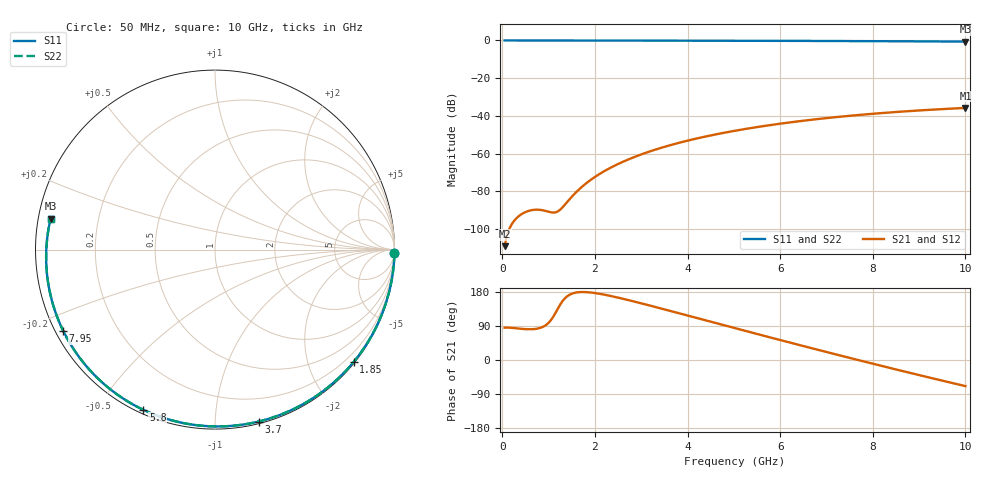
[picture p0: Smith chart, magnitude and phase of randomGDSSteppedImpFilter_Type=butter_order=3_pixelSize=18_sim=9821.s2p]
! freq	dB(S11)	phase(S11)	dB(S12)	phase(S12)
!  dB(S21)	phase(S21)	dB(S22)	phase(S22)
!S-par simulation data
#  GHz  S  DB  R 50
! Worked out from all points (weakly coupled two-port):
!   200 points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, 50 MHz to 10 GHz, reference 50 ohm
!   highest |S21| = -35.79 dB at 10 GHz (marker M1); lowest = -109.1 dB at 50 MHz (marker M2)
!   lowest |S11| = -0.6 dB at 10 GHz (marker M3), VSWR 28.44, Z = 1.77 + j4.65 ohm
!   |S11| at or under -10 dB: nowhere
!   |S22| runs from -0.6 to 0.0 dB; largest |S21 - S12| = 0
!   S11 on the Smith chart (normalised r, x): 50 MHz: open; 1.85 GHz: 0.03, -2.82; 3.7 GHz: 0.02, -1.29; 5.8 GHz: 0.02, -0.65; 7.95 GHz: 0.02, -0.25; 10 GHz: 0.04, +0.09
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0.05  -0.00 -1.1  -109.12 85.3  -109.12 85.3  -0.00 -1.1
0.4  -0.01 -8.6  -92.38 82.4  -92.38 82.4  -0.01 -8.6
0.8  -0.02 -17.1  -89.83 84.0  -89.83 84.0  -0.02 -17.1
1.2  -0.03 -25.6  -90.68 135.6  -90.68 135.6  -0.03 -25.6
1.6  -0.04 -33.9  -80.35 178.2  -80.35 178.2  -0.04 -33.9
1.75  -0.05 -37.0  -76.99 179.4  -76.99 179.4  -0.05 -37.0
1.85  -0.05 -39.1  -75.03 178.8  -75.03 178.8  -0.05 -39.1
2.15  -0.06 -45.2  -70.08 173.6  -70.08 173.6  -0.06 -45.2
2.5  -0.07 -52.3  -65.54 164.6  -65.54 164.6  -0.07 -52.3
2.9  -0.08 -60.3  -61.37 152.7  -61.37 152.7  -0.08 -60.2
3.4  -0.09 -70.0  -57.18 136.9  -57.18 136.9  -0.09 -70.0
3.7  -0.10 -75.7  -55.06 127.2  -55.06 127.2  -0.10 -75.7
4.35  -0.13 -87.9  -51.16 106.0  -51.16 106.0  -0.13 -87.9
5.05  -0.16 -100.7  -47.79 83.2  -47.79 83.2  -0.16 -100.7
5.8  -0.19 -114.1  -44.84 59.1  -44.84 59.1  -0.19 -114.0
6.7  -0.25 -129.9  -42.00 30.5  -42.00 30.5  -0.25 -129.8
7.35  -0.31 -141.2  -40.32 10.2  -40.32 10.2  -0.31 -141.2
7.95  -0.36 -151.8  -38.99 -8.3  -38.99 -8.3  -0.36 -151.8
8.35  -0.40 -159.0  -38.22 -20.4  -38.22 -20.4  -0.40 -159.0
9.2  -0.50 -174.8  -36.83 -45.7  -36.83 -45.7  -0.50 -174.7
9.6  -0.56 177.4  -36.28 -57.4  -36.28 -57.4  -0.56 177.5
10  -0.61 169.4  -35.79 -68.9  -35.79 -68.9  -0.61 169.5
